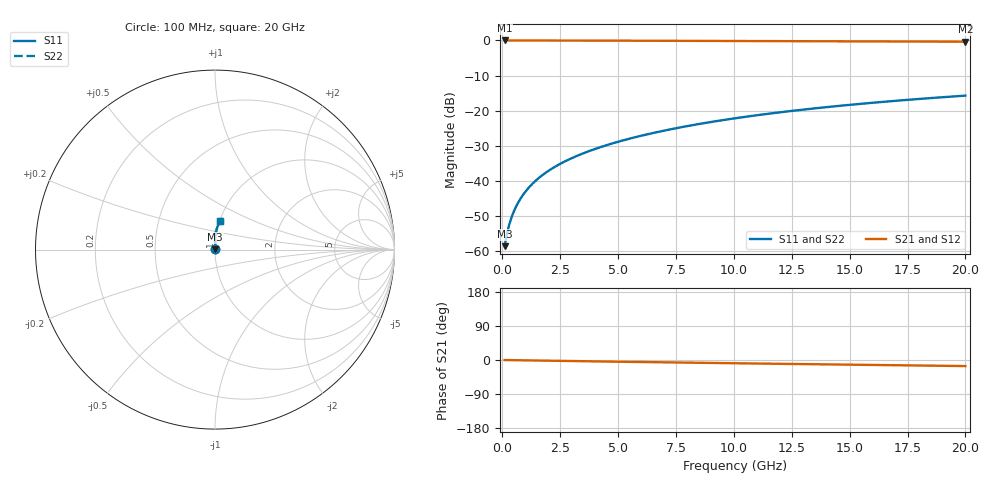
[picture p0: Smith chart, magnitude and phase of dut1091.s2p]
! Touchstone file exported from HFSS 2024.1.0
!  File:  C:/UserFiles/LocalFiles/RDL_TSV_Batchsim/temp_RDL_bottom_1091_1780053595.aedt
!  Generated:  07:22:33 PM May 29, 2026
!  Design:  RDL_bottom
!  Project:  temp_RDL_bottom_1091_1780053595
!  Setup:  Setup1
!  Solution:  Sweep
! Variables:
!  dtsv = 10.80580581um
!  hbump = 3um
!  htsv = 87.24um
!  ldown = 208.49um
!  lrdl = 100um
!  p = 40
!  p1 = 48.74um
!  rhole = 1um
!  t = 450um
!  tdown = 4.4um
!  trdl = 3.915915916um
!  wdown = 23.7um
!  wrdl = 20um
# GHz S MA R 50.000000
! Terminal data exported
! Port[1] = RDL1_T1
! Port[2] = RDL1_T2
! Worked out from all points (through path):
!   200 points, 100 MHz to 20 GHz, reference 50 ohm
!   highest |S21| = -0.01 dB at 100 MHz (marker M1); lowest = -0.4 dB at 20 GHz (marker M2)
!   group delay of S21, straight-line fit = 2.2 ps
!   lowest |S11| = -58.6 dB at 100 MHz (marker M3), VSWR 1.00, Z = 50.1 + j0.0767 ohm
!   |S11| at or under -10 dB: start of sweep to end of sweep
!   |S22| runs from -58.6 to -15.7 dB; largest |S21 - S12| = 5.2e-15
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0.1  0.001176 40.6  0.9991 -0.1  0.9991 -0.1  0.001176 40.6
! Gamma 0 0 0 0
! Port Impedance 50 0 50 0
0.2  0.001762 57.5  0.999 -0.2  0.999 -0.2  0.001762 57.5
0.3  0.002391 65.6  0.999 -0.3  0.999 -0.3  0.002391 65.6
0.4  0.003032 70.5  0.9989 -0.4  0.9989 -0.4  0.003032 70.5
0.5  0.003683 73.9  0.9989 -0.5  0.9989 -0.5  0.003683 73.9
0.6  0.004342 76.3  0.9988 -0.6  0.9988 -0.6  0.004342 76.3
0.8  0.005679 79.7  0.9987 -0.8  0.9987 -0.8  0.005679 79.7
1.1  0.007716 82.6  0.9985 -1.0  0.9985 -1.0  0.007716 82.6
1.5  0.01047 84.9  0.9982 -1.4  0.9982 -1.4  0.01047 84.9
1.8  0.01255 86.1  0.9979 -1.7  0.9979 -1.7  0.01255 86.1
2.1  0.01465 86.9  0.9975 -2.0  0.9975 -2.0  0.01465 86.9
2.7  0.01891 88.1  0.9967 -2.5  0.9967 -2.5  0.01891 88.1
3.5  0.02472 89.1  0.9953 -3.2  0.9953 -3.2  0.02472 89.2
4.2  0.02994 89.7  0.994 -3.8  0.994 -3.8  0.02994 89.7
5  0.03606 90.1  0.9923 -4.5  0.9923 -4.5  0.03606 90.1
6.8  0.05042 90.2  0.9882 -6.0  0.9882 -6.0  0.05042 90.2
8.4  0.06376 89.6  0.9845 -7.3  0.9845 -7.3  0.06376 89.6
10.1  0.07831 88.6  0.9806 -8.6  0.9806 -8.6  0.07831 88.6
11.7  0.0922 87.4  0.9771 -9.9  0.9771 -9.9  0.09221 87.4
13.4  0.107 86.0  0.9735 -11.1  0.9735 -11.1  0.107 86.0
16.7  0.1357 83.0  0.9666 -13.6  0.9666 -13.6  0.1357 83.0
20  0.1638 80.1  0.9597 -16.0  0.9597 -16.0  0.1638 80.1
